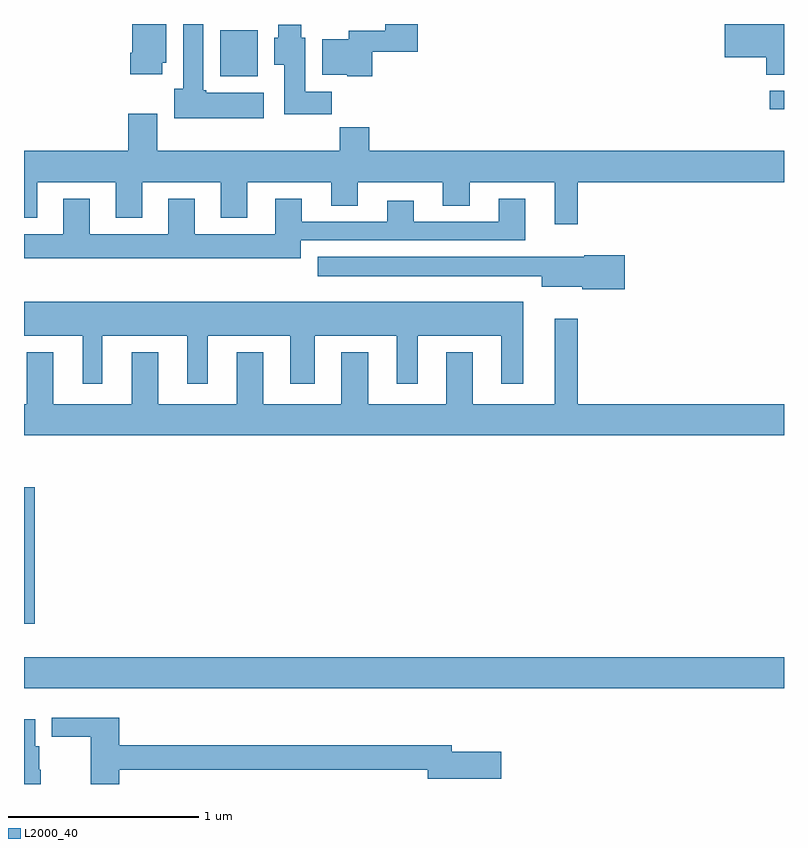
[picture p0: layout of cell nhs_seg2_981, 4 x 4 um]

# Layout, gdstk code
import gdstk
lib = gdstk.Library(unit=1e-6, precision=1e-09)
def R(c, l, rs):  # rectangles x0, y0, x1, y1
    for r in rs: c.add(gdstk.rectangle(r[:2], r[2:], *l))
def P(c, l, *ps):  # polygons
    for p in ps: c.add(gdstk.Polygon(p, *l))
L2000_40 = (2000, 40)

nhs_seg2_981 = lib.new_cell('nhs_seg2_981')
R(nhs_seg2_981, L2000_40, [(161,646.304,165,646.468), (161,646.644,161.057,647.362), (164.925,649.351,165,649.449), (162.032,649.526,162.229,649.768)])
P(nhs_seg2_981, L2000_40, [(162.833,649.655),(163.073,649.655),(163.073,649.8),(162.902,649.8),(162.902,649.765),(162.71,649.765),(162.71,649.72),(162.569,649.72),(162.569,649.532),(162.702,649.532),(162.702,649.526),(162.833,649.526)],
  [(161.728,649.596),(161.749,649.596),(161.749,649.8),(161.57,649.8),(161.57,649.648),(161.558,649.648),(161.558,649.536),(161.728,649.536)],
  [(165,649.8),(164.688,649.8),(164.688,649.625),(164.906,649.625),(164.906,649.534),(165,649.534)],
  [(162.262,649.438),(161.958,649.438),(161.958,649.452),(161.944,649.452),(161.944,649.8),(161.837,649.8),(161.837,649.458),(161.792,649.458),(161.792,649.304),(162.262,649.304)],
  [(162.62,649.444),(162.481,649.444),(162.481,649.728),(162.46,649.728),(162.46,649.795),(162.338,649.795),(162.338,649.728),(162.317,649.728),(162.317,649.585),(162.371,649.585),(162.371,649.326),(162.62,649.326)],
  [(163.915,648.968),(165,648.968),(165,649.132),(162.818,649.132),(162.818,649.256),(162.661,649.256),(162.661,649.132),(161.701,649.132),(161.701,649.327),(161.549,649.327),(161.549,649.132),(161,649.132),(161,648.779),(161.071,648.779),(161.071,648.968),(161.483,648.968),(161.483,648.779),(161.623,648.779),(161.623,648.968),(162.035,648.968),(162.035,648.779),(162.175,648.779),(162.175,648.968),(162.617,648.968),(162.617,648.844),(162.757,648.844),(162.757,648.968),(163.205,648.968),(163.205,648.844),(163.345,648.844),(163.345,648.968),(163.793,648.968),(163.793,648.747),(163.915,648.747)],
  [(162.457,648.663),(163.639,648.663),(163.639,648.88),(163.499,648.88),(163.499,648.759),(163.051,648.759),(163.051,648.871),(162.911,648.871),(162.911,648.759),(162.463,648.759),(162.463,648.88),(162.323,648.88),(162.323,648.694),(161.899,648.694),(161.899,648.88),(161.759,648.88),(161.759,648.694),(161.347,648.694),(161.347,648.88),(161.207,648.88),(161.207,648.694),(161,648.694),(161,648.566),(162.457,648.566)],
  [(164.161,648.582),(163.948,648.582),(163.948,648.574),(162.546,648.574),(162.546,648.473),(163.724,648.473),(163.724,648.416),(163.938,648.416),(163.938,648.404),(164.161,648.404)],
  [(161.413,648.158),(161.858,648.158),(161.858,647.907),(161.968,647.907),(161.968,648.158),(162.401,648.158),(162.401,647.907),(162.529,647.907),(162.529,648.158),(162.962,648.158),(162.962,647.907),(163.072,647.907),(163.072,648.158),(163.511,648.158),(163.511,647.907),(163.627,647.907),(163.627,648.337),(161,648.337),(161,648.158),(161.309,648.158),(161.309,647.907),(161.413,647.907)],
  [(165,647.8),(163.915,647.8),(163.915,648.25),(163.793,648.25),(163.793,647.8),(163.363,647.8),(163.363,648.073),(163.223,648.073),(163.223,647.8),(162.811,647.8),(162.811,648.073),(162.671,648.073),(162.671,647.8),(162.259,647.8),(162.259,648.073),(162.119,648.073),(162.119,647.8),(161.707,647.8),(161.707,648.073),(161.567,648.073),(161.567,647.8),(161.155,647.8),(161.155,648.073),(161.015,648.073),(161.015,647.8),(161,647.8),(161,647.636),(165,647.636)],
  [(161.501,645.874),(163.124,645.874),(163.124,645.827),(163.513,645.827),(163.513,645.969),(163.252,645.969),(163.252,646.003),(161.501,646.003),(161.501,646.15),(161.145,646.15),(161.145,646.048),(161.35,646.048),(161.35,645.8),(161.501,645.8)],
  [(161.089,645.876),(161.08,645.876),(161.08,645.999),(161.059,645.999),(161.059,646.141),(161,646.141),(161,645.8),(161.089,645.8)])

lib.write_gds('nhs_seg2_981.gds')
